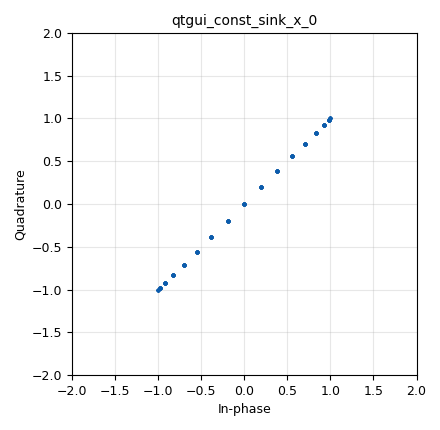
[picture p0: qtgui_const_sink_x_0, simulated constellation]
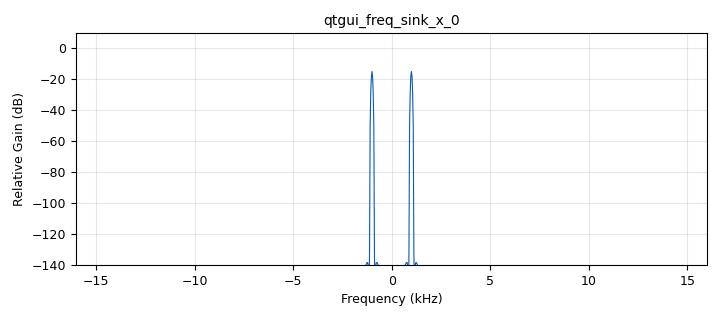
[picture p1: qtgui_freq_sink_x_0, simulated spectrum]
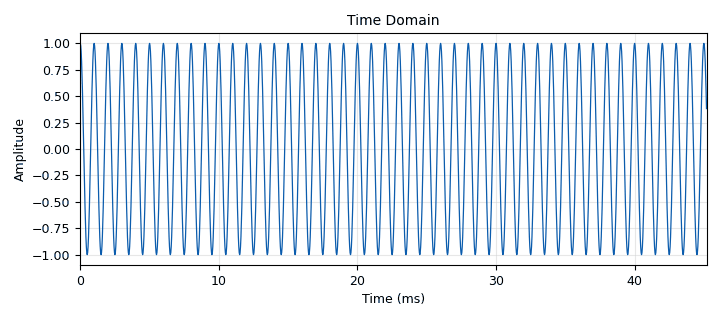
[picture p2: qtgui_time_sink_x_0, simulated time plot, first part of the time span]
options:
  parameters:
    generate_options: qt_gui
    id: GNUproject
    output_language: python
    title: Phase Lab
  states: {}

blocks:
- name: ampl
  id: variable_qtgui_range
  parameters:
    start: '0'
    step: '0.1'
    stop: '5'
    value: '1'
    widget: slider
  states: {}
- name: freq
  id: variable_qtgui_range
  parameters:
    start: '100'
    step: '100'
    stop: '10000'
    value: '1000'
    widget: slider
  states: {}
- name: phase
  id: variable_qtgui_range
  parameters:
    start: '0'
    step: '0.1'
    stop: '6.28'
    value: '0'
    widget: slider
  states: {}
- name: samp_rate
  id: variable
  parameters:
    value: '32000'
  states: {}
- name: analog_sig_source_x_0
  id: analog_sig_source_x
  parameters:
    amp: ampl
    freq: freq
    offset: '0'
    phase: phase
    samp_rate: '32000'
    type: float
    waveform: analog.GR_COS_WAVE
  states: {}
- name: analog_sig_source_x_1
  id: analog_sig_source_x
  parameters:
    amp: ampl
    freq: freq
    offset: '0'
    phase: '0'
    samp_rate: samp_rate
    type: float
    waveform: analog.GR_COS_WAVE
  states: {}
- name: blocks_float_to_complex_0
  id: blocks_float_to_complex
  parameters: {}
  states: {}
- name: blocks_throttle2_0
  id: blocks_throttle2
  parameters:
    ignoretag: 'False'
    samples_per_second: '32000'
    type: float
  states: {}
- name: qtgui_const_sink_x_0
  id: qtgui_const_sink_x
  parameters:
    size: '1024'
    type: complex
  states: {}
- name: qtgui_freq_sink_x_0
  id: qtgui_freq_sink_x
  parameters:
    bw: samp_rate
    fc: '0'
    fftsize: '1024'
    type: float
  states: {}
- name: qtgui_time_sink_x_0
  id: qtgui_time_sink_x
  parameters:
    autoscale: 'True'
    grid: 'True'
    name: Time Domain
    size: '3200'
    srate: '32000'
    type: float
    ymax: '2'
    ymin: '-2'
  states: {}

connections:
- [analog_sig_source_x_0, '0', blocks_throttle2_0, '0']
- [analog_sig_source_x_1, '0', blocks_float_to_complex_0, '1']
- [blocks_float_to_complex_0, '0', qtgui_const_sink_x_0, '0']
- [blocks_throttle2_0, '0', blocks_float_to_complex_0, '0']
- [blocks_throttle2_0, '0', qtgui_freq_sink_x_0, '0']
- [blocks_throttle2_0, '0', qtgui_time_sink_x_0, '0']

metadata:
  file_format: 1
  grc_version: 3.10.12.0
